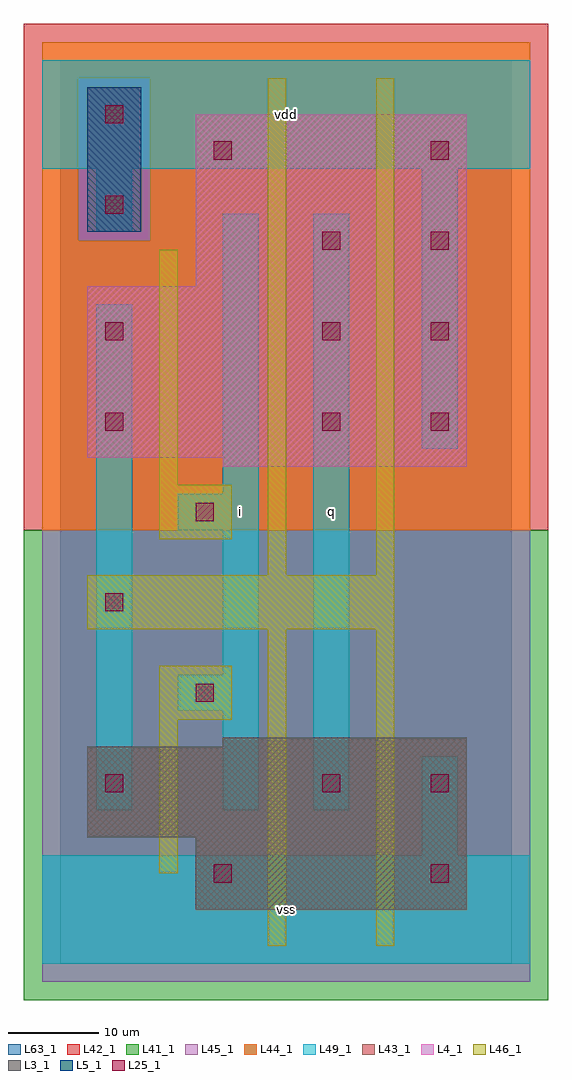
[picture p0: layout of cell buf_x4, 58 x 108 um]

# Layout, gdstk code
import gdstk
lib = gdstk.Library(unit=1e-6, precision=1e-09)
def R(c, l, rs):  # rectangles x0, y0, x1, y1
    for r in rs: c.add(gdstk.rectangle(r[:2], r[2:], *l))
def A(c, l, x, y, w, h, nx, ny, dx, dy):  # array of equal rectangles
    R(c, l, [(x+i*dx, y+j*dy, x+i*dx+w, y+j*dy+h) for i in range(nx) for j in range(ny)])
L3_1 = (3, 1)
L4_1 = (4, 1)
L5_1 = (5, 1)
L25_1 = (25, 1)
L41_1 = (41, 1)
L42_1 = (42, 1)
L43_1 = (43, 1)
L44_1 = (44, 1)
L45_1 = (45, 1)
L46_1 = (46, 1)
L49_1 = (49, 1)
L63_1 = (63, 1)

buf_x4 = lib.new_cell('buf_x4')
R(buf_x4, L3_1, [(15,6,45,14), (3,14,45,24), (18,24,45,25)])
R(buf_x4, L4_1, [(18,55,45,56), (3,56,45,75), (15,75,45,94)])
R(buf_x4, L5_1, [(3,81,9,97)])
A(buf_x4, L25_1, 5, 19, 2, 2, 1, 3, 0, 20)
A(buf_x4, L25_1, 29, 59, 2, 2, 1, 3, 0, 10)
A(buf_x4, L25_1, 41, 59, 2, 2, 1, 4, 0, 10)
R(buf_x4, L25_1, [(17,9,19,11), (41,9,43,11), (29,19,31,21), (41,19,43,21), (15,29,17,31), (15,49,17,51), (5,69,7,71), (5,83,7,85), (17,89,19,91), (5,93,7,95)])
R(buf_x4, L41_1, [(-4,-4,54,48)])
R(buf_x4, L42_1, [(-4,48,54,104)])
R(buf_x4, L43_1, [(15,6,45,14), (3,14,45,24), (18,24,45,25), (18,55,45,56), (3,56,45,75), (15,75,45,94), (3,81,9,97)])
R(buf_x4, L44_1, [(-2,48,52,80), (-2,80,2,98), (10,80,52,98), (-2,98,52,102)])
R(buf_x4, L45_1, [(-2,-2,52,48), (2,80,10,98)])
R(buf_x4, L46_1, [(23,2,25,37), (35,2,37,37), (11,10,13,27), (11,27,19,33), (3,37,37,43), (23,43,25,98), (35,43,37,98), (11,47,19,53), (11,53,13,79)])
R(buf_x4, L49_1, [(-2,0,52,12), (40,12,44,23), (4,17,8,73), (18,17,22,28), (28,17,32,83), (13,28,22,32), (18,32,22,48), (13,48,22,52), (18,52,22,83), (40,57,44,88), (4,81,8,88), (-2,88,52,100)])
R(buf_x4, L63_1, [(0,0,50,100)])
buf_x4.add(gdstk.Label('i', (20,50), layer=49, texttype=1))
buf_x4.add(gdstk.Label('vss', (25,6), layer=49, texttype=1))
buf_x4.add(gdstk.Label('q', (30,50), layer=49, texttype=1))
buf_x4.add(gdstk.Label('vdd', (25,94), layer=49, texttype=1))

lib.write_gds('buf_x4.gds')
